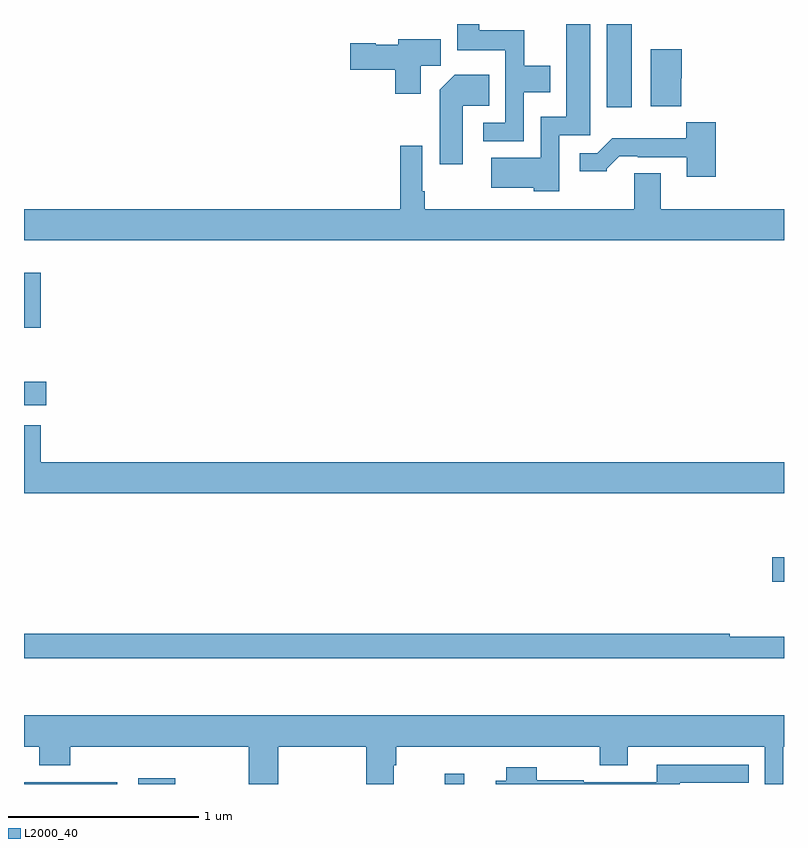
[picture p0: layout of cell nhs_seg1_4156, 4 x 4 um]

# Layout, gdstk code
import gdstk
lib = gdstk.Library(unit=1e-6, precision=1e-09)
def R(c, l, rs):  # rectangles x0, y0, x1, y1
    for r in rs: c.add(gdstk.rectangle(r[:2], r[2:], *l))
def P(c, l, *ps):  # polygons
    for p in ps: c.add(gdstk.Polygon(p, *l))
L2000_40 = (2000, 40)

nhs_seg1_4156 = lib.new_cell('nhs_seg1_4156')
R(nhs_seg1_4156, L2000_40, [(337,554.199,337.491,554.208), (337.602,554.199,337.795,554.23), (339.214,554.199,339.316,554.254), (340.938,555.263,341,555.393), (337,556.193,337.117,556.315), (337,556.601,337.088,556.891), (340.067,557.76,340.198,558.199), (340.487,558.198,340.64,558.199)])
P(nhs_seg1_4156, L2000_40, [(339.63,557.84),(339.769,557.84),(339.769,557.98),(339.633,557.98),(339.633,558.166),(339.397,558.166),(339.397,558.199),(339.281,558.199),(339.281,558.062),(339.534,558.062),(339.534,557.679),(339.417,557.679),(339.417,557.583),(339.63,557.583)],
  [(339.816,557.613),(339.979,557.613),(339.979,558.199),(339.854,558.199),(339.854,557.71),(339.72,557.71),(339.72,557.494),(339.459,557.494),(339.459,557.336),(339.684,557.336),(339.684,557.318),(339.816,557.318)],
  [(339.088,557.98),(339.193,557.98),(339.193,558.118),(338.97,558.118),(338.97,558.091),(338.85,558.091),(338.85,558.099),(338.718,558.099),(338.718,557.957),(338.954,557.957),(338.954,557.832),(339.088,557.832)],
  [(340.46,557.913),(340.462,557.913),(340.462,558.067),(340.298,558.067),(340.298,557.765),(340.46,557.765)],
  [(339.31,557.768),(339.449,557.768),(339.449,557.932),(339.266,557.932),(339.188,557.854),(339.188,557.46),(339.31,557.46)],
  [(340.64,557.683),(340.485,557.683),(340.485,557.599),(340.096,557.599),(340.017,557.52),(339.924,557.52),(339.924,557.423),(340.068,557.423),(340.068,557.438),(340.132,557.502),(340.231,557.502),(340.231,557.499),(340.487,557.499),(340.487,557.394),(340.64,557.394)],
  [(341,557.224),(340.351,557.224),(340.351,557.414),(340.211,557.414),(340.211,557.224),(339.109,557.224),(339.109,557.32),(339.096,557.32),(339.096,557.557),(338.98,557.557),(338.98,557.224),(337,557.224),(337,557.06),(341,557.06)],
  [(341,555.892),(337.088,555.892),(337.088,556.087),(337,556.087),(337,555.728),(341,555.728)],
  [(341,554.975),(340.714,554.975),(340.714,554.99),(337,554.99),(337,554.862),(341,554.862)],
  [(338.337,554.396),(338.8,554.396),(338.8,554.199),(338.947,554.199),(338.947,554.298),(338.96,554.298),(338.96,554.396),(340.03,554.396),(340.03,554.297),(340.177,554.297),(340.177,554.396),(340.899,554.396),(340.899,554.199),(340.996,554.199),(340.996,554.396),(341,554.396),(341,554.56),(337,554.56),(337,554.396),(337.079,554.396),(337.079,554.297),(337.244,554.297),(337.244,554.396),(338.182,554.396),(338.182,554.199),(338.337,554.199)],
  [(340.45,554.205),(340.814,554.205),(340.814,554.301),(340.331,554.301),(340.331,554.208),(339.945,554.208),(339.945,554.218),(339.699,554.218),(339.699,554.287),(339.539,554.287),(339.539,554.217),(339.482,554.217),(339.482,554.199),(340.45,554.199)])

lib.write_gds('nhs_seg1_4156.gds')
